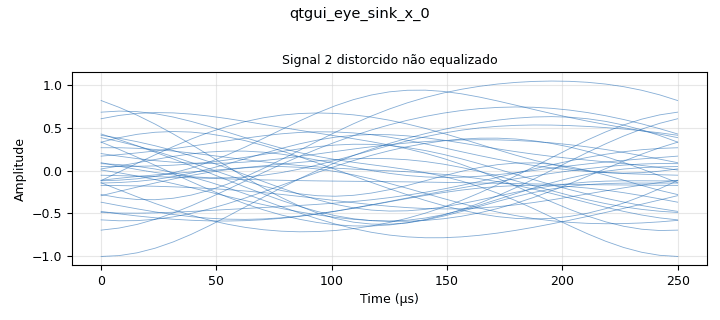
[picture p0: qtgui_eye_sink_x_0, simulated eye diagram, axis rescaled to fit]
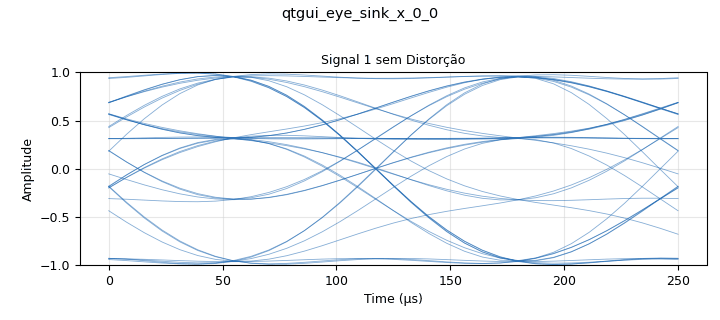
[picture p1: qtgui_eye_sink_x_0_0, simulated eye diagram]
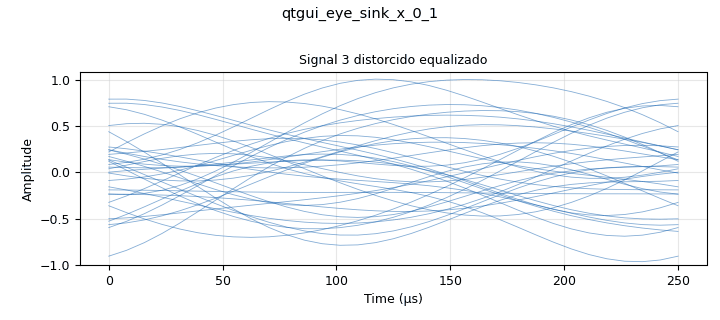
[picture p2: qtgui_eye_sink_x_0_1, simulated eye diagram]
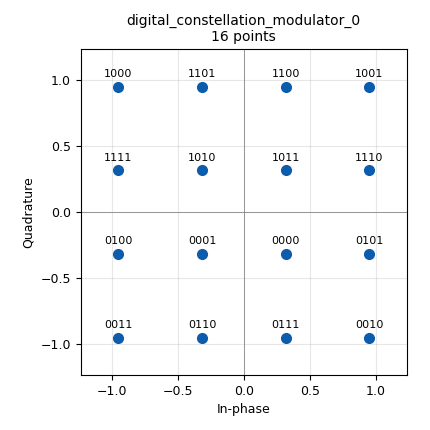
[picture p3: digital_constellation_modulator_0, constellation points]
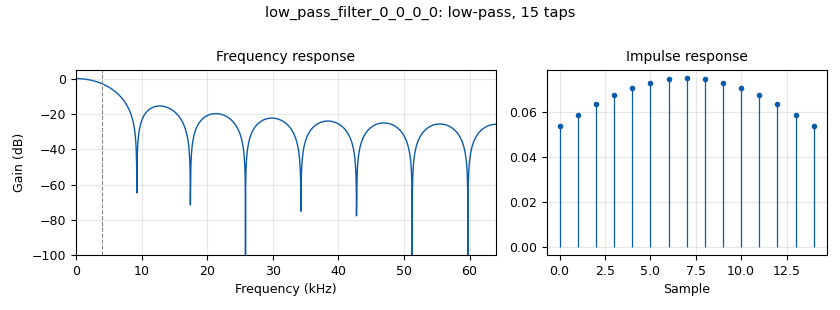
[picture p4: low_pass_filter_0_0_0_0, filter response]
options:
  parameters:
    generate_options: qt_gui
    id: Labo5_2
    output_language: python
  states: {}

blocks:
- name: M
  id: variable
  parameters:
    value: '2'
  states: {}
- name: RRCrolloff
  id: variable
  parameters:
    value: '1'
  states: {}
- name: constelacao
  id: variable_constellation
  parameters:
    precision: '8'
    type: 16qam
  states: {}
- name: samp_rate
  id: variable
  parameters:
    value: '128000'
  states: {}
- name: samp_rate_0
  id: variable
  parameters:
    value: '16000'
  states: {}
- name: sps
  id: variable
  parameters:
    value: '16'
  states: {}
- name: Canal
  id: interp_fir_filter_xxx
  parameters:
    alias: Canal
    interp: '1'
    taps: '[0.000000+0.000000j, 0.000008-0.000007j, 0.000016-0.000014j, 0.000024-0.000021j, 0.000032-0.000029j, 0.000039-0.000037j, 0.000047-0.000045j, 0.000054-0.000053j, 0.000061-0.000061j, 0.000068-0.000070j, 0.000075-0.000079j, 0.000082-0.000088j, 0.000088-0.000097j, 0.000094-0.000107j, 0.000101-0.000117j, 0.000107-0.000127j, 0.000113-0.000138j, 0.000118-0.000148j, 0.000124-0.000159j, 0.000129-0.000171j, 0.000135-0.000182j, 0.000140-0.000194j, 0.000145-0.000207j, 0.000150-0.000219j, 0.000154-0.000232j, 0.000159-0.000245j, 0.000163-0.000259j, 0.000168-0.000273j, 0.000172-0.000287j, 0.000175-0.000302j, 0.000179-0.000318j, 0.000183-0.000333j, 0.000186-0.000349j, 0.000189-0.000366j, 0.000192-0.000383j, 0.000195-0.000401j, 0.000197-0.000419j, 0.000199-0.000438j, 0.000201-0.000457j, 0.000203-0.000477j, 0.000205-0.000497j, 0.000206-0.000519j, 0.000207-0.000541j, 0.000208-0.000563j, 0.000208-0.000587j, 0.000208-0.000611j, 0.000208-0.000636j, 0.000208-0.000662j, 0.000207-0.000689j, 0.000206-0.000716j, 0.000204-0.000745j, 0.000202-0.000775j, 0.000199-0.000806j, 0.000196-0.000838j, 0.000193-0.000872j, 0.000189-0.000906j, 0.000184-0.000943j, 0.000179-0.000980j, 0.000173-0.001020j, 0.000166-0.001061j, 0.000159-0.001103j, 0.000151-0.001148j, 0.000142-0.001195j, 0.000132-0.001244j, 0.000121-0.001295j, 0.000110-0.001348j, 0.000097-0.001405j, 0.000082-0.001464j, 0.000067-0.001526j, 0.000050-0.001591j, 0.000031-0.001660j, 0.000011-0.001733j, -0.000012-0.001810j, -0.000036-0.001892j, -0.000063-0.001978j, -0.000092-0.002070j, -0.000124-0.002167j, -0.000158-0.002271j, -0.000197-0.002381j, -0.000239-0.002500j, -0.000285-0.002626j, -0.000335-0.002762j, -0.000391-0.002908j, -0.000453-0.003066j, -0.000522-0.003236j, -0.000598-0.003420j, -0.000682-0.003621j, -0.000777-0.003839j, -0.000883-0.004079j, -0.001002-0.004341j, -0.001137-0.004630j, -0.001289-0.004950j, -0.001464-0.005306j, -0.001664-0.005704j, -0.001896-0.006151j, -0.002166-0.006656j, -0.002484-0.007231j, -0.002863-0.007890j, -0.003318-0.008651j, -0.003875-0.009537j, -0.004566-0.010578j, -0.005442-0.011814j, -0.006576-0.013292j, -0.008085-0.015074j, -0.010148-0.017229j, -0.013057-0.019822j, -0.017284-0.022869j, -0.023575-0.026224j, -0.033057-0.029319j, -0.047213-0.030628j, -0.067381-0.026755j, -0.092985-0.011418j, -0.117526+0.024180j, -0.123015+0.085721j, -0.080014+0.160290j, 0.029417+0.197288j, 0.157441+0.123809j, 0.167460-0.054078j, -0.014735-0.144582j, -0.153909+0.030780j, 0.035067+0.185782j, 0.170182-0.043582j, -0.107491-0.102285j, -0.018462+0.181719j, 0.151378-0.079597j, -0.157033+0.011810j, 0.163404+0.088087j, -0.116465-0.095662j, 0.131124+0.133217j, -0.118777-0.092775j, 0.167530+0.079963j, -0.155739+0.023330j, 0.142847-0.094051j, 0.003921+0.182612j, -0.121336-0.085406j, 0.160225-0.072035j, 0.070638+0.175370j, -0.143426+0.063754j, -0.049424-0.136669j, 0.146971-0.096783j, 0.186601+0.072775j, 0.089818+0.178103j, -0.021337+0.177876j, -0.083922+0.124249j, -0.099326+0.067315j, -0.089634+0.027243j, -0.072351+0.004623j, -0.055942-0.006130j, -0.042974-0.010274j, -0.033438-0.011197j, -0.026582-0.010729j, -0.021636-0.009761j, -0.018009-0.008687j, -0.015289-0.007669j, -0.013200-0.006758j, -0.011558-0.005965j, -0.010241-0.005280j, -0.009164-0.004690j, -0.008268-0.004181j, -0.007514-0.003740j, -0.006870-0.003356j, -0.006315-0.003021j, -0.005831-0.002726j, -0.005406-0.002466j, -0.005031-0.002235j, -0.004696-0.002029j, -0.004396-0.001845j, -0.004126-0.001680j, -0.003882-0.001532j, -0.003659-0.001398j, -0.003457-0.001276j, -0.003271-0.001166j, -0.003100-0.001065j, -0.002942-0.000974j, -0.002796-0.000890j, -0.002661-0.000813j, -0.002535-0.000742j, -0.002418-0.000677j, -0.002308-0.000617j, -0.002206-0.000562j, -0.002110-0.000511j, -0.002019-0.000464j, -0.001934-0.000420j, -0.001854-0.000379j, -0.001778-0.000342j, -0.001706-0.000307j, -0.001638-0.000274j, -0.001573-0.000244j, -0.001512-0.000216j, -0.001454-0.000190j, -0.001398-0.000165j, -0.001345-0.000143j, -0.001295-0.000121j, -0.001246-0.000102j, -0.001200-0.000083j, -0.001156-0.000066j, -0.001114-0.000050j, -0.001073-0.000035j, -0.001034-0.000022j, -0.000996-0.000009j, -0.000960+0.000003j, -0.000926+0.000014j, -0.000892+0.000025j, -0.000860+0.000034j, -0.000829+0.000043j, -0.000799+0.000051j, -0.000770+0.000059j, -0.000742+0.000066j, -0.000715+0.000072j, -0.000689+0.000078j, -0.000664+0.000084j, -0.000639+0.000088j, -0.000616+0.000093j, -0.000592+0.000097j, -0.000570+0.000100j, -0.000548+0.000103j, -0.000527+0.000106j, -0.000507+0.000108j, -0.000487+0.000110j, -0.000468+0.000112j, -0.000449+0.000113j, -0.000431+0.000114j, -0.000413+0.000115j, -0.000395+0.000115j, -0.000379+0.000116j, -0.000362+0.000115j, -0.000346+0.000115j, -0.000330+0.000114j, -0.000315+0.000113j, -0.000300+0.000112j, -0.000285+0.000111j, -0.000271+0.000109j, -0.000257+0.000107j, -0.000244+0.000105j, -0.000230+0.000103j, -0.000218+0.000100j, -0.000205+0.000097j, -0.000192+0.000094j, -0.000180+0.000091j, -0.000168+0.000088j, -0.000157+0.000084j, -0.000145+0.000080j, -0.000134+0.000076j, -0.000123+0.000072j, -0.000113+0.000068j, -0.000102+0.000063j, -0.000092+0.000058j, -0.000082+0.000053j, -0.000072+0.000048j, -0.000062+0.000043j, -0.000053+0.000037j, -0.000044+0.000032j, -0.000035+0.000026j, -0.000026+0.000020j, -0.000017+0.000013j, -0.000008+0.000007j]'
    type: ccc
  states: {}
- name: Equalizador
  id: interp_fir_filter_xxx
  parameters:
    alias: Equalizador (Filtro FIR)
    interp: '1'
    taps: '[-0.000000+0.000000j, 0.000005+0.000024j, 0.000010+0.000047j, 0.000017+0.000071j, 0.000023+0.000094j, 0.000031+0.000118j, 0.000039+0.000141j, 0.000047+0.000165j, 0.000056+0.000188j, 0.000066+0.000211j, 0.000076+0.000234j, 0.000088+0.000258j, 0.000099+0.000281j, 0.000112+0.000304j, 0.000125+0.000327j, 0.000139+0.000351j, 0.000153+0.000374j, 0.000169+0.000398j, 0.000185+0.000421j, 0.000202+0.000445j, 0.000219+0.000469j, 0.000238+0.000493j, 0.000257+0.000517j, 0.000278+0.000541j, 0.000299+0.000565j, 0.000321+0.000590j, 0.000344+0.000614j, 0.000369+0.000639j, 0.000394+0.000664j, 0.000420+0.000690j, 0.000448+0.000715j, 0.000477+0.000741j, 0.000507+0.000767j, 0.000539+0.000794j, 0.000572+0.000821j, 0.000606+0.000848j, 0.000642+0.000876j, 0.000679+0.000904j, 0.000719+0.000933j, 0.000760+0.000962j, 0.000803+0.000991j, 0.000848+0.001021j, 0.000895+0.001052j, 0.000944+0.001083j, 0.000996+0.001115j, 0.001050+0.001148j, 0.001107+0.001182j, 0.001167+0.001216j, 0.001230+0.001251j, 0.001296+0.001287j, 0.001366+0.001325j, 0.001439+0.001363j, 0.001517+0.001403j, 0.001599+0.001443j, 0.001685+0.001486j, 0.001776+0.001530j, 0.001873+0.001575j, 0.001976+0.001622j, 0.002085+0.001672j, 0.002201+0.001723j, 0.002325+0.001777j, 0.002457+0.001834j, 0.002598+0.001894j, 0.002748+0.001956j, 0.002910+0.002023j, 0.003084+0.002094j, 0.003272+0.002169j, 0.003475+0.002250j, 0.003694+0.002336j, 0.003932+0.002430j, 0.004191+0.002531j, 0.004475+0.002642j, 0.004785+0.002763j, 0.005127+0.002897j, 0.005504+0.003047j, 0.005923+0.003215j, 0.006389+0.003405j, 0.006911+0.003623j, 0.007499+0.003876j, 0.008165+0.004172j, 0.008922+0.004525j, 0.009790+0.004952j, 0.010788+0.005477j, 0.011945+0.006134j, 0.013289+0.006973j, 0.014855+0.008065j, 0.016676+0.009512j, 0.018778+0.011464j, 0.021161+0.014135j, 0.023763+0.017827j, 0.026404+0.022944j, 0.028678+0.029991j, 0.029803+0.039513j, 0.028431+0.051904j, 0.022484+0.067004j, 0.009226+0.083393j, -0.014096+0.097437j, -0.048542+0.102514j, -0.090489+0.089522j, -0.128292+0.050416j, -0.141758-0.014087j, -0.109759-0.085009j, -0.029017-0.123254j, 0.064845-0.089386j, 0.101421+0.013165j, 0.031609+0.107195j, -0.092572+0.088792j, -0.126567-0.041670j, -0.005395-0.120178j, 0.105468-0.014778j, 0.012668+0.115972j, -0.128539+0.025538j, -0.027954-0.118439j, 0.107875+0.004178j, -0.046000+0.114163j, -0.105871-0.071816j, 0.095191-0.054911j, -0.016061+0.119678j, -0.103818-0.073230j, 0.107109-0.022285j, -0.077561+0.099072j, -0.019095-0.117949j, 0.064784+0.094414j, -0.119627-0.044584j, 0.109909-0.001165j, -0.121537+0.041902j, 0.090418-0.064044j, -0.098240+0.081069j, 0.075184-0.082604j, -0.096221+0.083455j, 0.087166-0.068403j, -0.118126+0.050729j, 0.109265-0.011932j, -0.124185-0.029605j, 0.077936+0.083887j, -0.038979-0.112948j, -0.056742+0.112300j, 0.099624-0.045211j, -0.118500-0.045810j, 0.016440+0.119626j, 0.075152-0.080179j, -0.123055-0.034981j, -0.004850+0.122987j, 0.102150-0.034926j, -0.071151-0.098726j, -0.107162+0.075436j, 0.061036+0.099422j, 0.087562-0.060620j, -0.061410-0.103445j, -0.130664+0.026128j, -0.033753+0.123751j, 0.084054+0.073653j, 0.091643-0.045400j, 0.001548-0.110419j, -0.096729-0.081713j, -0.138828+0.000511j, -0.118518+0.079041j, -0.064213+0.121972j, -0.006928+0.127100j, 0.035531+0.107716j, 0.058931+0.078866j, 0.066759+0.050821j, 0.064746+0.028337j, 0.057872+0.012374j, 0.049451+0.002029j, 0.041287-0.004156j, 0.034157-0.007540j, 0.028258-0.009163j, 0.023509-0.009741j, 0.019732-0.009732j, 0.016732-0.009414j, 0.014339-0.008950j, 0.012414-0.008433j, 0.010850-0.007911j, 0.009564-0.007411j, 0.008494-0.006943j, 0.007595-0.006511j, 0.006831-0.006116j, 0.006175-0.005755j, 0.005608-0.005426j, 0.005113-0.005125j, 0.004678-0.004851j, 0.004293-0.004599j, 0.003950-0.004367j, 0.003643-0.004154j, 0.003368-0.003957j, 0.003119-0.003775j, 0.002893-0.003605j, 0.002687-0.003447j, 0.002499-0.003300j, 0.002327-0.003162j, 0.002169-0.003032j, 0.002023-0.002910j, 0.001888-0.002796j, 0.001764-0.002687j, 0.001648-0.002585j, 0.001541-0.002488j, 0.001441-0.002396j, 0.001348-0.002308j, 0.001261-0.002224j, 0.001179-0.002145j, 0.001103-0.002068j, 0.001032-0.001995j, 0.000965-0.001926j, 0.000902-0.001859j, 0.000843-0.001794j, 0.000787-0.001732j, 0.000735-0.001673j, 0.000685-0.001615j, 0.000639-0.001560j, 0.000595-0.001506j, 0.000553-0.001454j, 0.000514-0.001404j, 0.000477-0.001356j, 0.000442-0.001308j, 0.000409-0.001263j, 0.000378-0.001218j, 0.000349-0.001175j, 0.000321-0.001133j, 0.000295-0.001092j, 0.000270-0.001052j, 0.000247-0.001013j, 0.000224-0.000975j, 0.000204-0.000938j, 0.000184-0.000901j, 0.000166-0.000866j, 0.000148-0.000831j, 0.000132-0.000797j, 0.000117-0.000763j, 0.000103-0.000731j, 0.000089-0.000699j, 0.000077-0.000667j, 0.000065-0.000636j, 0.000055-0.000605j, 0.000045-0.000575j, 0.000036-0.000546j, 0.000027-0.000517j, 0.000020-0.000488j, 0.000013-0.000460j, 0.000007-0.000432j, 0.000002-0.000404j, -0.000003-0.000377j, -0.000007-0.000350j, -0.000011-0.000324j, -0.000014-0.000298j, -0.000016-0.000272j, -0.000017-0.000246j, -0.000018-0.000220j, -0.000019-0.000195j, -0.000018-0.000170j, -0.000017-0.000145j, -0.000016-0.000121j, -0.000014-0.000096j, -0.000011-0.000072j, -0.000008-0.000048j, -0.000004-0.000024j]'
    type: ccc
  states: {}
- name: analog_const_source_x_0
  id: analog_const_source_x
  parameters:
    const: '0'
    type: float
  states: {}
- name: analog_random_source_x_1
  id: analog_random_source_x
  parameters:
    max: '255'
    min: '0'
    num_samps: '10000'
    repeat: 'True'
    type: byte
  states: {}
- name: blocks_complex_to_real_0
  id: blocks_complex_to_real
  parameters: {}
  states: {}
- name: blocks_complex_to_real_0_0
  id: blocks_complex_to_real
  parameters: {}
  states: {}
- name: blocks_complex_to_real_0_0_0
  id: blocks_complex_to_real
  parameters: {}
  states: {}
- name: blocks_complex_to_real_1
  id: blocks_complex_to_real
  parameters: {}
  states: {}
- name: blocks_float_to_complex_0
  id: blocks_float_to_complex
  parameters: {}
  states: {}
- name: blocks_multiply_const_vxx_0
  id: blocks_multiply_const_vxx
  parameters:
    const: '1'
    type: complex
  states: {}
- name: blocks_throttle_0
  id: blocks_throttle
  parameters:
    samples_per_second: samp_rate
    type: complex
  states: {}
- name: digital_constellation_modulator_0
  id: digital_constellation_modulator
  parameters:
    constellation: constelacao
    differential: 'False'
    excess_bw: RRCrolloff
    samples_per_symbol: sps
  states: {}
- name: low_pass_filter_0_0_0_0
  id: low_pass_filter
  parameters:
    beta: '100'
    cutoff_freq: samp_rate/sps/2
    gain: '1'
    interp: '1'
    samp_rate: samp_rate
    type: interp_fir_filter_ccf
    width: (samp_rate/sps)
    win: window.WIN_RECTANGULAR
  states: {}
- name: qtgui_eye_sink_x_0
  id: qtgui_eye_sink_x
  parameters:
    color1: red
    label1: Signal 2 distorcido não equalizado
    samp_per_symbol: sps
    size: '1024'
    srate: samp_rate
    type: float
  states: {}
- name: qtgui_eye_sink_x_0_0
  id: qtgui_eye_sink_x
  parameters:
    label1: Signal 1 sem Distorção
    samp_per_symbol: sps
    size: '1024'
    srate: samp_rate
    type: float
  states: {}
- name: qtgui_eye_sink_x_0_1
  id: qtgui_eye_sink_x
  parameters:
    color1: green
    label1: Signal 3 distorcido equalizado
    samp_per_symbol: sps
    size: '1024'
    srate: samp_rate
    type: float
  states: {}

connections:
- [Canal, '0', Equalizador, '0']
- [Canal, '0', blocks_multiply_const_vxx_0, '0']
- [Equalizador, '0', blocks_complex_to_real_0_0_0, '0']
- [analog_const_source_x_0, '0', blocks_float_to_complex_0, '1']
- [analog_random_source_x_1, '0', digital_constellation_modulator_0, '0']
- [blocks_complex_to_real_0, '0', qtgui_eye_sink_x_0_0, '0']
- [blocks_complex_to_real_0_0, '0', qtgui_eye_sink_x_0, '0']
- [blocks_complex_to_real_0_0_0, '0', qtgui_eye_sink_x_0_1, '0']
- [blocks_complex_to_real_1, '0', blocks_float_to_complex_0, '0']
- [blocks_float_to_complex_0, '0', low_pass_filter_0_0_0_0, '0']
- [blocks_multiply_const_vxx_0, '0', blocks_complex_to_real_0_0, '0']
- [blocks_throttle_0, '0', blocks_complex_to_real_0, '0']
- [digital_constellation_modulator_0, '0', blocks_complex_to_real_1, '0']
- [low_pass_filter_0_0_0_0, '0', Canal, '0']
- [low_pass_filter_0_0_0_0, '0', blocks_throttle_0, '0']

metadata:
  file_format: 1
